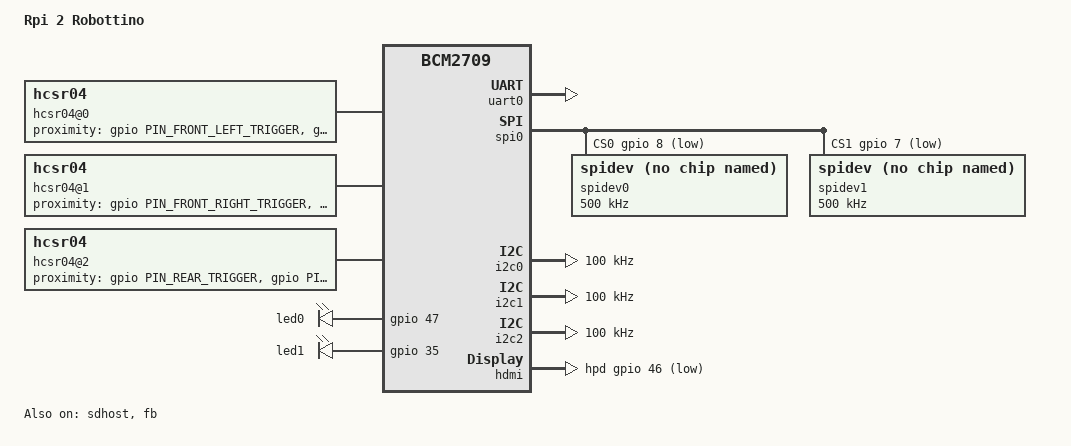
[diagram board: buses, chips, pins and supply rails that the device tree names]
/dts-v1/;

#include "bcm2709.dtsi"

#define ROBOTTINO

#ifdef ROBOTTINO
#	define PIN_LEFT_ENABLE         23 // Raspi pos. 16
#	define PIN_RIGHT_ENABLE        22 // Raspi pos. 15

#	define PIN_LEFT_DIRECTION      25 // Raspi pos. 22
#	define PIN_RIGHT_DIRECTION     24 // Raspi pos. 18

#	define PIN_LEFT_POWER          13 // Raspi pos. 33
#	define PIN_RIGHT_POWER         12 // Raspi pos. 32

#	define PIN_FRONT_LEFT_TRIGGER  17 // Raspi pos. 11
#	define PIN_FRONT_LEFT_ECHO     27 // Raspi pos. 13

#	define PIN_FRONT_RIGHT_TRIGGER 10 // Raspi pos. 19 
#	define PIN_FRONT_RIGHT_ECHO    9  // Raspi pos. 21

#	define PIN_REAR_TRIGGER        3  // Raspi pos. 5
#	define PIN_REAR_ECHO           4  // Raspi pos. 3
#endif // ROBOTTINO

/ {
	compatible = "brcm,bcm2709";
#ifdef ROBOTTINO
	model = "Rpi 2 Robottino";
#else
	model = "Raspberry Pi 2 Model B";
#endif // BOBOTTINO
};

&gpio {
	sdhost_pins: sdhost_pins {
		brcm,pins = <48 49 50 51 52 53>;
		brcm,function = <4>; /* alt0 */
	};

	spi0_pins: spi0_pins {
		brcm,pins = <9 10 11>;
		brcm,function = <4>; /* alt0 */
	};

	spi0_cs_pins: spi0_cs_pins {
		brcm,pins = <8 7>;
		brcm,function = <1>; /* output */
	};

	i2c0_pins: i2c0 {
		brcm,pins = <0 1>;
		brcm,function = <4>;
	};

	i2c1_pins: i2c1 {
		brcm,pins = <2 3>;
		brcm,function = <4>;
	};

	i2s_pins: i2s {
		brcm,pins = <18 19 20 21>;
		brcm,function = <4>; /* alt0 */
	};

	audio_pins: audio_pins {
		brcm,pins = <40 45>;
		brcm,function = <4>;
	};
#ifdef ROBOTTINO	
	motor_controller_pins: motor_controller {
		// BCM2835_FSEL_ALT0 = 4
		brcm,pins =    <PIN_LEFT_ENABLE PIN_RIGHT_ENABLE
				PIN_LEFT_DIRECTION PIN_RIGHT_DIRECTION
				PIN_LEFT_POWER PIN_RIGHT_POWER>;
		brcm,function = <1 1    // out
				 1 1    // out
				 4 4 >; // alt0 (PWM)
		brcm,pull =     <0 0    // none
				 0 0
				 0 0>;
	};
	
	hcsr04_front_left_pins: hcsr040 {
		brcm,pins =    <PIN_FRONT_LEFT_TRIGGER PIN_FRONT_LEFT_ECHO>;
		brcm,function = <1 0>;    // out,  in
		brcm,pull =     <0 0>;      // none
	};
       
	hcsr04_front_right_pins: hcsr041 {
		brcm,pins =    <PIN_FRONT_RIGHT_TRIGGER PIN_FRONT_RIGHT_ECHO>;
		brcm,function = <1 0>;    // out,  in
		brcm,pull =     <0 0>;      // none
	};
       
	hcsr04_rear_pins: hcsr042 {
		brcm,pins =    <PIN_REAR_TRIGGER PIN_REAR_ECHO>;
		brcm,function = <1 0>;    // out,  in
		brcm,pull =     <0 0>;      // none
       };
#endif // ROBOTTINO
};

&sdhost {
	pinctrl-names = "default";
	pinctrl-0 = <&sdhost_pins>;
	bus-width = <4>;
	status = "okay";
};

#ifdef ROBOTTINO
&soc {
	hcsr04@0 {
		compatible = "hcsr04";
		pinctrl-names = "default";
		pinctrl-0 = <&hcsr04_front_left_pins>;
		// see Documentation/gpio/board.txt
		proximity-gpios = <&gpio PIN_FRONT_LEFT_TRIGGER 0>,
				  <&gpio PIN_FRONT_LEFT_ECHO 0>;
		status="okay";
	};

	hcsr04@1 {
		compatible = "hcsr04";
		pinctrl-names = "default";
		pinctrl-0 = <&hcsr04_front_right_pins>;
		// see Documentation/gpio/board.txt
		proximity-gpios = <&gpio PIN_FRONT_RIGHT_TRIGGER 0>,
				  <&gpio PIN_FRONT_RIGHT_ECHO 0>;
		status="okay";
	};

	hcsr04@2 {
		compatible = "hcsr04";
		pinctrl-names = "default";
		pinctrl-0 = <&hcsr04_rear_pins>;
		// see Documentation/gpio/board.txt
		proximity-gpios = <&gpio PIN_REAR_TRIGGER 0>,
				  <&gpio PIN_REAR_ECHO 0>;
		status="okay";
	};
	
	// Pololu Dual MC33926 Motor Driver
	dual-mc33926 {
		compatibile = "dual-mc33926";
		pinctrl-names = "default";
		pinctrl-0 = <&motor_controller_pins>;
		// see Documentation/gpio/board.txt
		motor-controller-gpios = <&gpio PIN_LEFT_ENABLE 0>,
					 <&gpio PIN_RIGHT_ENABLE 0>,
					 <&gpio PIN_LEFT_DIRECTION 0>,
					 <&gpio PIN_RIGHT_DIRECTION 0>,
					 <&gpio PIN_LEFT_POWER 0>,
					 <&gpio PIN_RIGHT_POWER 0>;
	};
};
#endif // ROBOTTINO

&fb {
	status = "okay";
};

&uart0 {
	status = "okay";
};

&spi0 {
	pinctrl-names = "default";
	pinctrl-0 = <&spi0_pins &spi0_cs_pins>;
	cs-gpios = <&gpio 8 1>, <&gpio 7 1>;

	spidev0: spidev@0{
		compatible = "spidev";
		reg = <0>;	/* CE0 */
		#address-cells = <1>;
		#size-cells = <0>;
		spi-max-frequency = <500000>;
	};

	spidev1: spidev@1{
		compatible = "spidev";
		reg = <1>;	/* CE1 */
		#address-cells = <1>;
		#size-cells = <0>;
		spi-max-frequency = <500000>;
	};
};

&i2c0 {
	pinctrl-names = "default";
	pinctrl-0 = <&i2c0_pins>;
	clock-frequency = <100000>;
};

&i2c1 {
	pinctrl-names = "default";
	pinctrl-0 = <&i2c1_pins>;
	clock-frequency = <100000>;
};

&i2c2 {
	clock-frequency = <100000>;
};

&i2s {
	pinctrl-names = "default";
	pinctrl-0 = <&i2s_pins>;
};

&leds {
	act_led: act {
		label = "led0";
		linux,default-trigger = "mmc0";
		gpios = <&gpio 47 0>;
	};

	pwr_led: pwr {
		label = "led1";
		linux,default-trigger = "input";
		gpios = <&gpio 35 0>;
	};
};

&hdmi {
	hpd-gpios = <&gpio 46 GPIO_ACTIVE_LOW>;
};

&audio {
	pinctrl-names = "default";
	pinctrl-0 = <&audio_pins>;
};

/ {
	__overrides__ {
		uart0 = <&uart0>,"status";
		uart1 = <&uart1>,"status";
		i2s = <&i2s>,"status";
		spi = <&spi0>,"status";
		i2c0 = <&i2c0>,"status";
		i2c1 = <&i2c1>,"status";
		i2c2_iknowwhatimdoing = <&i2c2>,"status";
		i2c0_baudrate = <&i2c0>,"clock-frequency:0";
		i2c1_baudrate = <&i2c1>,"clock-frequency:0";
		i2c2_baudrate = <&i2c2>,"clock-frequency:0";

		act_led_gpio = <&act_led>,"gpios:4";
		act_led_activelow = <&act_led>,"gpios:8";
		act_led_trigger = <&act_led>,"linux,default-trigger";

		pwr_led_gpio = <&pwr_led>,"gpios:4";
		pwr_led_activelow = <&pwr_led>,"gpios:8";
		pwr_led_trigger = <&pwr_led>,"linux,default-trigger";

		audio = <&audio>,"status";
		watchdog = <&watchdog>,"status";
		random = <&random>,"status";
		sd_overclock = <&sdhost>,"brcm,overclock-50:0";
		sd_force_pio = <&sdhost>,"brcm,force-pio?";
		sd_pio_limit = <&sdhost>,"brcm,pio-limit:0";
		sd_debug     = <&sdhost>,"brcm,debug";
	};
};
